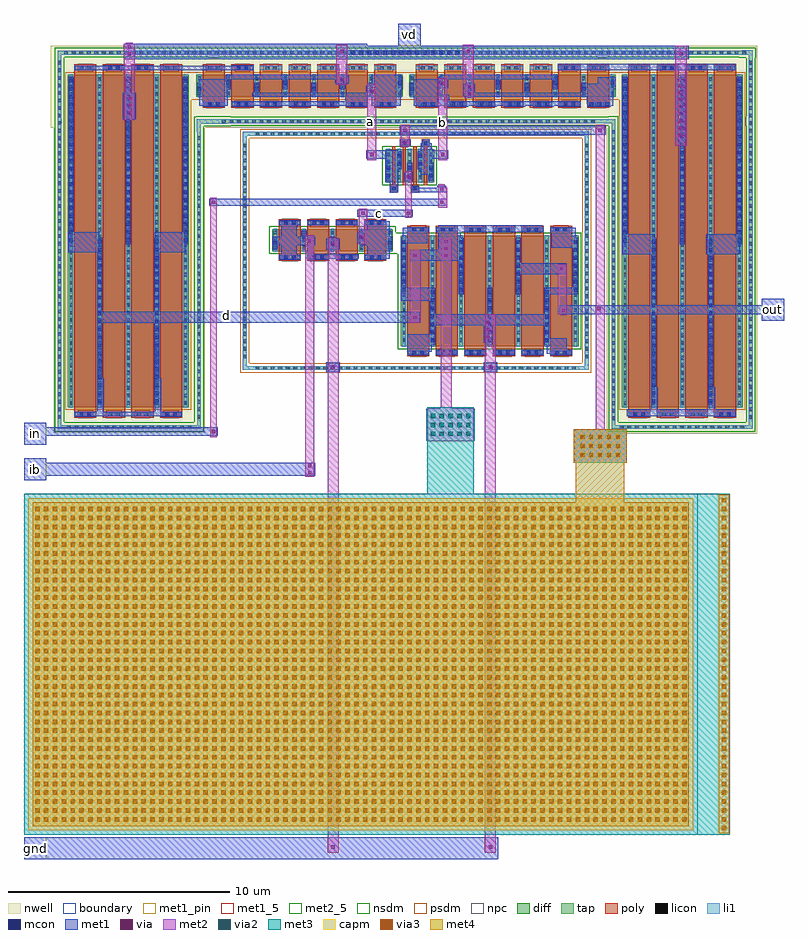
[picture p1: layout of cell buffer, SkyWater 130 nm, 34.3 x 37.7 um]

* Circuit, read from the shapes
.subckt buffer a b c d gnd ib in out vd
XM1 ib ib ib gnd sky130_fd_pr__nfet_01v8 w=1 l=1
XM2 gnd ib ib gnd sky130_fd_pr__nfet_01v8 w=1 l=1
XM3 c ib gnd gnd sky130_fd_pr__nfet_01v8 w=1 l=1
XM4 c c c gnd sky130_fd_pr__nfet_01v8 w=1 l=1
XM5 a a a gnd sky130_fd_pr__nfet_01v8 w=1.5 l=0.15
XM6 c out a gnd sky130_fd_pr__nfet_01v8 w=1.5 l=0.15
XM7 gnd gnd gnd gnd sky130_fd_pr__nfet_01v8 w=5 l=1 m=2
XM8 b in c gnd sky130_fd_pr__nfet_01v8 w=1.5 l=0.15
XM9 b b b gnd sky130_fd_pr__nfet_01v8 w=1.5 l=0.15
XM10 d d gnd gnd sky130_fd_pr__nfet_01v8 w=5 l=1 m=2
XM11 out d gnd gnd sky130_fd_pr__nfet_01v8 w=5 l=1 m=2
XM12 d d d vd sky130_fd_pr__pfet_01v8 w=15 l=1 m=2
XM13 vd a d vd sky130_fd_pr__pfet_01v8 w=15 l=1 m=2
XM14 vd vd vd vd sky130_fd_pr__pfet_01v8 w=1 l=1 m=2
XM15 a a vd vd sky130_fd_pr__pfet_01v8 w=1 l=1 m=5
XM16 a a a vd sky130_fd_pr__pfet_01v8 w=1 l=1
XM17 b b b vd sky130_fd_pr__pfet_01v8 w=1 l=1
XM18 vd b b vd sky130_fd_pr__pfet_01v8 w=1 l=1 m=5
XM19 out out out vd sky130_fd_pr__pfet_01v8 w=15 l=1 m=2
XM20 vd b out vd sky130_fd_pr__pfet_01v8 w=15 l=1 m=2
XC21 out d sky130_fd_pr__cap_mim_m3_1 w=30 l=15
.ends

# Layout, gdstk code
import gdstk
lib = gdstk.Library(unit=1e-6, precision=1e-09)
def R(c, l, rs):  # rectangles x0, y0, x1, y1
    for r in rs: c.add(gdstk.rectangle(r[:2], r[2:], *l))
def A(c, l, x, y, w, h, nx, ny, dx, dy):  # array of equal rectangles
    R(c, l, [(x+i*dx, y+j*dy, x+i*dx+w, y+j*dy+h) for i in range(nx) for j in range(ny)])
nwell = (64, 20)
diff = (65, 20)
tap = (65, 44)
poly = (66, 20)
licon = (66, 44)
li1 = (67, 20)
mcon = (67, 44)
met1_5 = (68, 5)
met1_pin = (68, 16)
met1 = (68, 20)
via = (68, 44)
met2_5 = (69, 5)
met2 = (69, 20)
via2 = (69, 44)
met3 = (70, 20)
via3 = (70, 44)
met4 = (71, 20)
capm = (89, 44)
nsdm = (93, 44)
psdm = (94, 20)
npc = (95, 20)
boundary = (235, 4)

sky130_fd_pr__nfet_01v8_ = lib.new_cell('sky130_fd_pr__nfet_01v8_MMM6UU')
R(sky130_fd_pr__nfet_01v8_, diff, [(-4.015,-2.5,4.015,2.5)])
A(sky130_fd_pr__nfet_01v8_, poly, -3.725, -2.94, 1, 5.88, 6, 1, 1.29, 0)
A(sky130_fd_pr__nfet_01v8_, licon, -3.955, -2.295, 0.17, 0.17, 7, 14, 1.29, 0.34)
R(sky130_fd_pr__nfet_01v8_, licon, [(-3.48,-2.86,-3.31,-2.69), (-3.14,-2.86,-2.97,-2.69), (-2.19,-2.86,-2.02,-2.69), (-1.85,-2.86,-1.68,-2.69), (-0.9,-2.86,-0.73,-2.69), (-0.56,-2.86,-0.39,-2.69), (0.39,-2.86,0.56,-2.69), (0.73,-2.86,0.9,-2.69), (1.68,-2.86,1.85,-2.69), (2.02,-2.86,2.19,-2.69), (2.97,-2.86,3.14,-2.69), (3.31,-2.86,3.48,-2.69), (-3.48,2.69,-3.31,2.86), (-3.14,2.69,-2.97,2.86), (-2.19,2.69,-2.02,2.86), (-1.85,2.69,-1.68,2.86), (-0.9,2.69,-0.73,2.86), (-0.56,2.69,-0.39,2.86), (0.39,2.69,0.56,2.86), (0.73,2.69,0.9,2.86), (1.68,2.69,1.85,2.86), (2.02,2.69,2.19,2.86), (2.97,2.69,3.14,2.86), (3.31,2.69,3.48,2.86)])
A(sky130_fd_pr__nfet_01v8_, li1, -3.725, -2.86, 1, 0.17, 6, 2, 1.29, 5.55)
A(sky130_fd_pr__nfet_01v8_, li1, -3.955, -2.52, 0.17, 5.04, 7, 1, 1.29, 0)
A(sky130_fd_pr__nfet_01v8_, mcon, -2.665, -2.3, 0.17, 0.17, 3, 7, 2.58, 0.36)
A(sky130_fd_pr__nfet_01v8_, mcon, -3.955, -0.03, 0.17, 0.17, 4, 7, 2.58, 0.36)
R(sky130_fd_pr__nfet_01v8_, mcon, [(-3.49,-2.86,-3.32,-2.69), (-3.13,-2.86,-2.96,-2.69), (-2.2,-2.86,-2.03,-2.69), (-1.84,-2.86,-1.67,-2.69), (-0.91,-2.86,-0.74,-2.69), (-0.55,-2.86,-0.38,-2.69), (0.38,-2.86,0.55,-2.69), (0.74,-2.86,0.91,-2.69), (1.67,-2.86,1.84,-2.69), (2.03,-2.86,2.2,-2.69), (2.96,-2.86,3.13,-2.69), (3.32,-2.86,3.49,-2.69), (-3.49,2.69,-3.32,2.86), (-3.13,2.69,-2.96,2.86), (-2.2,2.69,-2.03,2.86), (-1.84,2.69,-1.67,2.86), (-0.91,2.69,-0.74,2.86), (-0.55,2.69,-0.38,2.86), (0.38,2.69,0.55,2.86), (0.74,2.69,0.91,2.86), (1.67,2.69,1.84,2.86), (2.03,2.69,2.2,2.86), (2.96,2.69,3.13,2.86), (3.32,2.69,3.49,2.86)])
A(sky130_fd_pr__nfet_01v8_, met1, -3.705, -2.89, 0.96, 0.23, 6, 2, 1.29, 5.55)
A(sky130_fd_pr__nfet_01v8_, met1, -2.695, -2.415, 0.23, 2.56, 3, 1, 2.58, 0)
A(sky130_fd_pr__nfet_01v8_, met1, -3.985, -0.145, 0.23, 2.56, 4, 1, 2.58, 0)
R(sky130_fd_pr__nfet_01v8_, nsdm, [(-4.14,-2.625,4.14,2.625)])
A(sky130_fd_pr__nfet_01v8_, npc, -3.58, -2.96, 0.71, 0.37, 6, 2, 1.29, 5.55)

sky130_fd_pr__pfet_01v8_ = lib.new_cell('sky130_fd_pr__pfet_01v8_AXJJQ9')
R(sky130_fd_pr__pfet_01v8_, nwell, [(-4.84,-1,4.84,1)])
R(sky130_fd_pr__pfet_01v8_, diff, [(-4.66,-0.5,4.66,0.5)])
A(sky130_fd_pr__pfet_01v8_, poly, -4.37, -0.985, 1, 1.97, 7, 1, 1.29, 0)
A(sky130_fd_pr__pfet_01v8_, licon, -4.6, -0.425, 0.17, 0.17, 8, 3, 1.29, 0.34)
R(sky130_fd_pr__pfet_01v8_, licon, [(-4.125,-0.905,-3.955,-0.735), (-3.785,-0.905,-3.615,-0.735), (-2.835,-0.905,-2.665,-0.735), (-2.495,-0.905,-2.325,-0.735), (-1.545,-0.905,-1.375,-0.735), (-1.205,-0.905,-1.035,-0.735), (-0.255,-0.905,-0.085,-0.735), (0.085,-0.905,0.255,-0.735), (1.035,-0.905,1.205,-0.735), (1.375,-0.905,1.545,-0.735), (2.325,-0.905,2.495,-0.735), (2.665,-0.905,2.835,-0.735), (3.615,-0.905,3.785,-0.735), (3.955,-0.905,4.125,-0.735), (-4.125,0.735,-3.955,0.905), (-3.785,0.735,-3.615,0.905), (-2.835,0.735,-2.665,0.905), (-2.495,0.735,-2.325,0.905), (-1.545,0.735,-1.375,0.905), (-1.205,0.735,-1.035,0.905), (-0.255,0.735,-0.085,0.905), (0.085,0.735,0.255,0.905), (1.035,0.735,1.205,0.905), (1.375,0.735,1.545,0.905), (2.325,0.735,2.495,0.905), (2.665,0.735,2.835,0.905), (3.615,0.735,3.785,0.905), (3.955,0.735,4.125,0.905)])
A(sky130_fd_pr__pfet_01v8_, li1, -4.37, -0.905, 1, 0.17, 7, 2, 1.29, 1.64)
A(sky130_fd_pr__pfet_01v8_, li1, -4.6, -0.52, 0.17, 1.04, 8, 1, 1.29, 0)
A(sky130_fd_pr__pfet_01v8_, mcon, -4.6, -0.22, 0.17, 0.17, 4, 1, 2.58, 0)
A(sky130_fd_pr__pfet_01v8_, mcon, -3.31, 0.05, 0.17, 0.17, 4, 1, 2.58, 0)
A(sky130_fd_pr__pfet_01v8_, met1, -4.63, -0.415, 0.23, 0.56, 4, 1, 2.58, 0)
A(sky130_fd_pr__pfet_01v8_, met1, -3.34, -0.145, 0.23, 0.56, 4, 1, 2.58, 0)
R(sky130_fd_pr__pfet_01v8_, psdm, [(-4.785,-0.625,4.785,0.625)])
A(sky130_fd_pr__pfet_01v8_, npc, -4.225, -1.005, 0.71, 0.37, 7, 2, 1.29, 1.64)

c_sky130_fd_pr__pfet_01v8_ = lib.new_cell('sky130_fd_pr__pfet_01v8_99C25S')
R(c_sky130_fd_pr__pfet_01v8_, nwell, [(-2.905,-8,2.905,8)])
R(c_sky130_fd_pr__pfet_01v8_, diff, [(-2.725,-7.5,2.725,7.5)])
A(c_sky130_fd_pr__pfet_01v8_, poly, -2.435, -7.985, 1, 15.97, 4, 1, 1.29, 0)
A(c_sky130_fd_pr__pfet_01v8_, licon, -2.665, -7.395, 0.17, 0.17, 5, 44, 1.29, 0.34)
R(c_sky130_fd_pr__pfet_01v8_, licon, [(-2.19,-7.905,-2.02,-7.735), (-1.85,-7.905,-1.68,-7.735), (-0.9,-7.905,-0.73,-7.735), (-0.56,-7.905,-0.39,-7.735), (0.39,-7.905,0.56,-7.735), (0.73,-7.905,0.9,-7.735), (1.68,-7.905,1.85,-7.735), (2.02,-7.905,2.19,-7.735), (-2.19,7.735,-2.02,7.905), (-1.85,7.735,-1.68,7.905), (-0.9,7.735,-0.73,7.905), (-0.56,7.735,-0.39,7.905), (0.39,7.735,0.56,7.905), (0.73,7.735,0.9,7.905), (1.68,7.735,1.85,7.905), (2.02,7.735,2.19,7.905)])
A(c_sky130_fd_pr__pfet_01v8_, li1, -2.435, -7.905, 1, 0.17, 4, 2, 1.29, 15.64)
A(c_sky130_fd_pr__pfet_01v8_, li1, -2.665, -7.52, 0.17, 15.04, 5, 1, 1.29, 0)
A(c_sky130_fd_pr__pfet_01v8_, mcon, -1.375, -7.32, 0.17, 0.17, 1, 21, 0, 0.36)
A(c_sky130_fd_pr__pfet_01v8_, mcon, 1.205, -7.32, 0.17, 0.17, 1, 21, 0, 0.36)
A(c_sky130_fd_pr__pfet_01v8_, mcon, -2.665, -0.05, 0.17, 0.17, 3, 21, 2.58, 0.36)
A(c_sky130_fd_pr__pfet_01v8_, met1, -2.695, -0.145, 0.23, 7.56, 3, 1, 2.58, 0)
R(c_sky130_fd_pr__pfet_01v8_, met1, [(-1.405,-7.415,-1.175,0.145), (1.175,-7.415,1.405,0.145)])
R(c_sky130_fd_pr__pfet_01v8_, psdm, [(-2.85,-7.625,2.85,7.625)])
A(c_sky130_fd_pr__pfet_01v8_, npc, -2.29, -8.005, 0.71, 0.37, 4, 2, 1.29, 15.64)

c_sky130_fd_pr__nfet_01v8_ = lib.new_cell('sky130_fd_pr__nfet_01v8_HD5U9F')
R(c_sky130_fd_pr__nfet_01v8_, diff, [(-1.105,-0.75,1.105,0.75)])
R(c_sky130_fd_pr__nfet_01v8_, poly, [(-0.885,-1.19,-0.555,-0.86), (0.075,-1.19,0.405,-0.86), (-0.315,-0.88,-0.165,0.86), (0.645,-0.88,0.795,0.86), (-0.795,-0.86,-0.645,0.88), (0.165,-0.86,0.315,0.88), (-0.405,0.86,-0.075,1.19), (0.555,0.86,0.885,1.19)])
A(c_sky130_fd_pr__nfet_01v8_, licon, -1.045, -0.595, 0.17, 0.17, 5, 4, 0.48, 0.34)
R(c_sky130_fd_pr__nfet_01v8_, licon, [(-0.805,-1.11,-0.635,-0.94), (0.155,-1.11,0.325,-0.94), (-0.325,0.94,-0.155,1.11), (0.635,0.94,0.805,1.11)])
A(c_sky130_fd_pr__nfet_01v8_, li1, -1.045, -0.77, 0.17, 1.54, 5, 1, 0.48, 0)
R(c_sky130_fd_pr__nfet_01v8_, li1, [(-0.885,-1.11,-0.555,-0.94), (0.075,-1.11,0.405,-0.94), (-0.405,0.94,-0.075,1.11), (0.555,0.94,0.885,1.11)])
A(c_sky130_fd_pr__nfet_01v8_, mcon, -1.045, -0.525, 0.17, 0.17, 3, 2, 0.96, 0.36)
R(c_sky130_fd_pr__nfet_01v8_, mcon, [(-0.805,-1.11,-0.635,-0.94), (0.155,-1.11,0.325,-0.94), (-0.565,-0.005,-0.395,0.165), (0.395,-0.005,0.565,0.165), (-0.565,0.355,-0.395,0.525), (0.395,0.355,0.565,0.525), (-0.325,0.94,-0.155,1.11), (0.635,0.94,0.805,1.11)])
A(c_sky130_fd_pr__nfet_01v8_, met1, -1.075, -0.665, 0.23, 0.81, 3, 1, 0.96, 0)
R(c_sky130_fd_pr__nfet_01v8_, met1, [(-0.865,-1.14,-0.575,-0.91), (0.095,-1.14,0.385,-0.91), (-0.595,-0.145,-0.365,0.665), (0.365,-0.145,0.595,0.665), (-0.385,0.91,-0.095,1.14), (0.575,0.91,0.865,1.14)])
R(c_sky130_fd_pr__nfet_01v8_, nsdm, [(-1.23,-0.875,1.23,0.875)])
R(c_sky130_fd_pr__nfet_01v8_, npc, [(-0.905,-1.21,-0.535,-0.84), (0.055,-1.21,0.425,-0.84), (-0.425,0.84,-0.055,1.21), (0.535,0.84,0.905,1.21)])

c_sky130_fd_pr__nfet_01v8__ = lib.new_cell('sky130_fd_pr__nfet_01v8_5VPKLS')
R(c_sky130_fd_pr__nfet_01v8__, diff, [(-2.725,-0.5,2.725,0.5)])
A(c_sky130_fd_pr__nfet_01v8__, poly, -2.435, -0.94, 1, 1.88, 4, 1, 1.29, 0)
A(c_sky130_fd_pr__nfet_01v8__, licon, -2.665, -0.425, 0.17, 0.17, 5, 3, 1.29, 0.34)
R(c_sky130_fd_pr__nfet_01v8__, licon, [(-2.19,-0.86,-2.02,-0.69), (-1.85,-0.86,-1.68,-0.69), (-0.9,-0.86,-0.73,-0.69), (-0.56,-0.86,-0.39,-0.69), (0.39,-0.86,0.56,-0.69), (0.73,-0.86,0.9,-0.69), (1.68,-0.86,1.85,-0.69), (2.02,-0.86,2.19,-0.69), (-2.19,0.69,-2.02,0.86), (-1.85,0.69,-1.68,0.86), (-0.9,0.69,-0.73,0.86), (-0.56,0.69,-0.39,0.86), (0.39,0.69,0.56,0.86), (0.73,0.69,0.9,0.86), (1.68,0.69,1.85,0.86), (2.02,0.69,2.19,0.86)])
A(c_sky130_fd_pr__nfet_01v8__, li1, -2.435, -0.86, 1, 0.17, 4, 2, 1.29, 1.55)
A(c_sky130_fd_pr__nfet_01v8__, li1, -2.665, -0.52, 0.17, 1.04, 5, 1, 1.29, 0)
A(c_sky130_fd_pr__nfet_01v8__, mcon, -2.665, -0.22, 0.17, 0.17, 3, 1, 2.58, 0)
R(c_sky130_fd_pr__nfet_01v8__, mcon, [(-2.2,-0.86,-2.03,-0.69), (-1.84,-0.86,-1.67,-0.69), (-0.91,-0.86,-0.74,-0.69), (-0.55,-0.86,-0.38,-0.69), (0.38,-0.86,0.55,-0.69), (0.74,-0.86,0.91,-0.69), (1.67,-0.86,1.84,-0.69), (2.03,-0.86,2.2,-0.69), (-1.375,0.05,-1.205,0.22), (1.205,0.05,1.375,0.22), (-2.2,0.69,-2.03,0.86), (-1.84,0.69,-1.67,0.86), (-0.91,0.69,-0.74,0.86), (-0.55,0.69,-0.38,0.86), (0.38,0.69,0.55,0.86), (0.74,0.69,0.91,0.86), (1.67,0.69,1.84,0.86), (2.03,0.69,2.2,0.86)])
A(c_sky130_fd_pr__nfet_01v8__, met1, -2.415, -0.89, 0.96, 0.23, 4, 2, 1.29, 1.55)
A(c_sky130_fd_pr__nfet_01v8__, met1, -2.695, -0.415, 0.23, 0.56, 3, 1, 2.58, 0)
R(c_sky130_fd_pr__nfet_01v8__, met1, [(-1.405,-0.145,-1.175,0.415), (1.175,-0.145,1.405,0.415)])
R(c_sky130_fd_pr__nfet_01v8__, nsdm, [(-2.85,-0.625,2.85,0.625)])
A(c_sky130_fd_pr__nfet_01v8__, npc, -2.29, -0.96, 0.71, 0.37, 4, 2, 1.29, 1.55)

sky130_fd_pr__cap_mim_m3 = lib.new_cell('sky130_fd_pr__cap_mim_m3_1_26U9NK')
R(sky130_fd_pr__cap_mim_m3, met3, [(-15.93,-7.7,15.93,7.7)])
A(sky130_fd_pr__cap_mim_m3, via3, 15.57, -7.5, 0.2, 0.2, 1, 38, 0, 0.4)
A(sky130_fd_pr__cap_mim_m3, via3, -15.43, -7.1, 0.2, 0.2, 74, 36, 0.4, 0.4)
R(sky130_fd_pr__cap_mim_m3, met4, [(15.43,-7.64,15.91,7.64), (-15.535,-7.305,14.075,7.305)])
R(sky130_fd_pr__cap_mim_m3, capm, [(-15.73,-7.5,14.27,7.5)])
R(sky130_fd_pr__cap_mim_m3, boundary, [(-15.93,-7.7,14.47,7.7)])

buffer = lib.new_cell('buffer')
R(buffer, nwell, [(30.8,10.6,37.6,24.4), (5.835,10.635,12.665,24.4), (5.7,24.4,37.6,28.1)])
R(buffer, tap, [(6.015,10.815,12.485,10.985), (31.015,10.815,37.385,10.985), (6.015,10.985,6.185,24.615), (12.315,10.985,12.485,24.215), (31.015,10.985,31.185,24.615), (37.215,10.985,37.385,24.615), (14.38,13.48,29.98,13.65), (14.38,13.65,14.55,24.05), (29.81,13.65,29.98,24.05), (14.38,24.05,29.98,24.22), (12.3,24.215,12.485,24.6), (12.3,24.6,13.7,24.615), (6.015,24.615,6.2,24.785), (12.3,24.615,31.185,24.785), (37.2,24.615,37.385,24.785), (6.015,24.785,6.185,27.715), (12.4,24.785,13.7,24.8), (31.015,24.785,31.185,24.8), (37.215,24.785,37.385,27.7), (13.015,27.7,13.185,27.715), (30.515,27.7,30.685,27.715), (36.9,27.7,37.4,27.715), (6.015,27.715,37.4,27.885), (36.9,27.885,37.4,27.9)])
A(buffer, licon, 6.445, 10.815, 0.17, 0.17, 17, 1, 0.34, 0)
A(buffer, licon, 31.395, 10.815, 0.17, 0.17, 17, 1, 0.34, 0)
A(buffer, licon, 31.015, 11.21, 0.17, 0.17, 1, 39, 0, 0.34)
A(buffer, licon, 6.015, 11.275, 0.17, 0.17, 1, 48, 0, 0.34)
A(buffer, licon, 37.215, 11.275, 0.17, 0.17, 1, 48, 0, 0.34)
A(buffer, licon, 12.315, 11.28, 0.17, 0.17, 1, 38, 0, 0.34)
A(buffer, licon, 14.955, 13.48, 0.17, 0.17, 43, 2, 0.34, 10.57)
A(buffer, licon, 14.38, 14.005, 0.17, 0.17, 1, 29, 0, 0.34)
A(buffer, licon, 29.81, 14.005, 0.17, 0.17, 1, 29, 0, 0.34)
A(buffer, licon, 13.435, 24.615, 0.17, 0.17, 50, 1, 0.34, 0)
A(buffer, licon, 6.315, 27.715, 0.17, 0.17, 91, 1, 0.34, 0)
A(buffer, li1, 12.65, 25.395, 0.84, 0.17, 7, 1, 1.29, 0)
A(buffer, li1, 22.35, 25.395, 0.84, 0.17, 5, 1, 1.29, 0)
R(buffer, li1, [(6.015,10.815,12.485,10.985), (31.015,10.815,37.385,10.985), (6.015,10.985,6.185,24.615), (12.315,10.985,12.485,24.215), (31.015,10.985,31.185,24.615), (37.215,10.985,37.385,24.615), (6.85,11.395,7.69,11.565), (10.72,11.395,11.56,11.565), (31.85,11.395,32.69,11.565), (35.72,11.395,36.56,11.565), (18.2,13.4,18.7,13.48), (25.3,13.4,25.8,13.48), (14.38,13.48,29.98,13.65), (14.38,13.65,14.55,24.05), (18.2,13.65,18.7,13.8), (25.3,13.65,25.8,13.8), (29.81,13.65,29.98,24.05), (14.38,24.05,29.98,24.22), (12.3,24.215,12.485,24.6), (12.3,24.6,13.7,24.615), (6.015,24.615,6.2,24.785), (12.3,24.615,31.185,24.785), (37.2,24.615,37.385,24.785), (6.015,24.785,6.185,27.715), (12.4,24.785,13.7,24.8), (31.015,24.785,31.185,24.8), (37.215,24.785,37.385,27.7), (28.7,25.395,29.54,25.565), (29.99,25.395,30.93,25.565), (8.14,27.035,8.98,27.205), (9.43,27.035,10.27,27.205), (13.94,27.035,14.78,27.205), (28.7,27.035,29.54,27.205), (33.14,27.035,33.98,27.205), (34.43,27.035,35.27,27.205), (13.015,27.7,13.185,27.715), (19.1,27.7,24.3,27.715), (30.515,27.7,30.685,27.715), (36.9,27.7,37.4,27.715), (6.015,27.715,37.4,27.885), (19.1,27.885,24.3,27.9), (36.9,27.885,37.4,27.9)])
A(buffer, mcon, 30.015, 25.395, 0.17, 0.17, 3, 1, 0.36, 0)
A(buffer, mcon, 19.275, 27.715, 0.17, 0.17, 14, 1, 0.36, 0)
R(buffer, mcon, [(7.005,11.395,7.175,11.565), (7.365,11.395,7.535,11.565), (10.875,11.395,11.045,11.565), (11.235,11.395,11.405,11.565), (32.005,11.395,32.175,11.565), (32.365,11.395,32.535,11.565), (35.875,11.395,36.045,11.565), (36.235,11.395,36.405,11.565), (18.365,13.515,18.535,13.685), (25.465,13.515,25.635,13.685), (12.805,25.395,12.975,25.565), (13.165,25.395,13.335,25.565), (14.095,25.395,14.265,25.565), (14.455,25.395,14.625,25.565), (15.385,25.395,15.555,25.565), (15.745,25.395,15.915,25.565), (16.675,25.395,16.845,25.565), (17.035,25.395,17.205,25.565), (17.965,25.395,18.135,25.565), (18.325,25.395,18.495,25.565), (19.255,25.395,19.425,25.565), (19.615,25.395,19.785,25.565), (20.545,25.395,20.715,25.565), (20.905,25.395,21.075,25.565), (22.505,25.395,22.675,25.565), (22.865,25.395,23.035,25.565), (23.795,25.395,23.965,25.565), (24.155,25.395,24.325,25.565), (25.085,25.395,25.255,25.565), (25.445,25.395,25.615,25.565), (26.375,25.395,26.545,25.565), (26.735,25.395,26.905,25.565), (27.665,25.395,27.835,25.565), (28.025,25.395,28.195,25.565), (28.855,25.395,29.025,25.565), (29.215,25.395,29.385,25.565), (8.295,27.035,8.465,27.205), (8.655,27.035,8.825,27.205), (9.585,27.035,9.755,27.205), (9.945,27.035,10.115,27.205), (14.095,27.035,14.265,27.205), (14.455,27.035,14.625,27.205), (28.855,27.035,29.025,27.205), (29.215,27.035,29.385,27.205), (33.295,27.035,33.465,27.205), (33.655,27.035,33.825,27.205), (34.585,27.035,34.755,27.205), (34.945,27.035,35.115,27.205)])
R(buffer, met1_5, [(13.6,15.9,13.7,16), (20.5,20.5,20.6,20.6)])
R(buffer, met1_pin, [(4.5,-8.6,5.5,-7.6), (4.5,8.5,5.5,9.5), (4.5,10.1,5.5,11.1), (37.8,15.7,38.8,16.7), (21.4,28.1,22.4,29.1)])
A(buffer, met1, 12.59, 25.365, 0.96, 0.035, 7, 1, 1.29, 0)
A(buffer, met1, 22.29, 25.365, 0.96, 0.035, 5, 1, 1.29, 0)
R(buffer, met1, [(4.5,-8.6,25.9,-7.6), (4.5,8.5,5.5,8.7), (4.5,8.7,17.65,9.3), (4.5,9.3,5.5,9.5), (4.5,10.1,5.5,10.5), (4.5,10.5,13.25,10.9), (4.5,10.9,5.5,11.1), (6.79,11.365,7.75,11.4), (10.66,11.365,11.62,11.4), (31.79,11.365,32.75,11.4), (35.66,11.365,36.62,11.4), (6.79,11.4,11.62,11.595), (31.7,11.4,36.62,11.595), (6.8,11.595,11.6,11.6), (31.7,11.595,36.6,11.7), (7.8,11.6,8.1,13.1), (10.4,11.6,10.7,13.1), (32.8,11.7,33.1,12.7), (35.4,11.7,35.7,12.7), (18.14,13.37,18.76,13.83), (25.24,13.37,25.86,13.83), (28.1,14.2,29,14.9), (21.8,14.3,22.9,15.1), (25.25,14.7,25.65,15.5), (22.9,15.5,28.1,16), (7.9,15.6,22.35,16.1), (37.8,15.7,38.8,16), (28.65,16,38.8,16.3), (28.7,16.3,38.8,16.4), (37.8,16.4,38.8,16.7), (21.5,16.6,23,17.2), (28,16.9,29.4,17.2), (26.7,17.8,29,18.3), (21.9,18.4,24.3,18.9), (16.1,18.5,16.8,19.1), (17.2,18.5,19.6,18.7), (20,18.5,21,19.1), (17.2,18.7,17.6,19.1), (31.5,18.7,33,19.6), (35.3,18.7,36.8,19.6), (6.5,18.8,7.9,19.7), (10.4,18.8,11.8,19.7), (18.15,18.9,18.75,19.4), (23.2,18.9,24.2,19.7), (28.3,19,29.4,19.9), (15.7,19.1,17.65,19.5), (19.7,19.1,21,19.2), (19.55,19.2,21,19.7), (21.6,19.2,22.7,19.9), (16.1,19.5,16.8,20.2), (19.7,19.7,21,19.8), (23.2,19.7,27.9,20), (20,19.8,21,20.2), (19.55,20.4,22.05,20.7), (12.85,20.9,23.6,21.2), (21,21.5,21.4,22), (22,21.5,23.6,21.7), (22,21.7,22.3,21.8), (23.15,21.7,23.55,21.8), (20.8,22,21.4,23), (21.65,22,22.05,22.4), (22.4,22.3,22.9,23), (19.95,23,21.4,23.4), (22.4,23,23.65,23.4), (22.4,23.4,22.9,23.7), (21.45,23.6,21.95,23.9), (22.5,23.7,22.8,23.9), (33.95,23.8,34.35,26.6), (21.45,24.1,30.75,24.5), (8.95,24.8,9.55,26), (28.64,25.365,29.6,25.4), (29.93,25.365,30.99,25.4), (12.4,25.4,13.7,26.6), (13.88,25.4,20,25.595), (20.2,25.4,21.5,25.8), (22.1,25.4,29.6,25.595), (29.93,25.4,31.1,25.5), (29.9,25.5,31.1,25.8), (13.9,25.595,20,25.6), (22.1,25.595,29.5,25.6), (19,25.6,20,25.8), (22.1,25.6,23.7,25.9), (14.8,25.8,21.5,26), (24.35,25.8,31.1,26), (22.1,25.9,23.4,26.2), (19.95,26,21.5,26.3), (24.35,26,24.85,26.4), (29.7,26,31.1,26.2), (22.1,26.2,23.65,26.6), (29.7,26.2,31.2,26.4), (20.2,26.3,21.5,26.8), (18.55,26.4,19.15,26.6), (30.4,26.4,31.2,26.7), (13.6,26.6,19.15,26.8), (23.3,26.6,28.6,26.8), (6.8,27,14.8,27.005), (28.6,27,36.6,27.3), (6.8,27.005,14.84,27.2), (8.08,27.2,9.04,27.235), (9.37,27.2,10.33,27.235), (13.88,27.2,14.84,27.235), (9,27.5,34.5,28.1), (9,28.1,20,28.2), (21.4,28.1,22.4,29.1)])
A(buffer, via, 25.375, 14.905, 0.15, 0.15, 1, 3, 0, 0.32)
A(buffer, via, 23.475, 18.555, 0.15, 0.15, 1, 3, 0, 0.32)
A(buffer, via, 34.075, 24.005, 0.15, 0.15, 1, 8, 0, 0.32)
A(buffer, via, 9.175, 25.005, 0.15, 0.15, 1, 3, 0, 0.32)
R(buffer, via, [(18.375,-8.125,18.525,-7.975), (25.475,-8.125,25.625,-7.975), (17.325,8.765,17.475,8.915), (17.325,9.085,17.475,9.235), (12.975,10.625,13.125,10.775), (18.375,13.525,18.525,13.675), (25.475,13.525,25.625,13.675), (22.075,15.775,22.225,15.925), (28.775,16.075,28.925,16.225), (30.375,16.175,30.525,16.325), (28.675,17.975,28.825,18.125), (22.075,18.575,22.225,18.725), (18.375,19.075,18.525,19.225), (17.325,19.225,17.475,19.375), (19.675,19.375,19.825,19.525), (19.725,20.475,19.875,20.625), (21.775,20.475,21.925,20.625), (12.975,20.975,13.125,21.125), (23.275,20.975,23.425,21.125), (23.275,21.575,23.425,21.725), (21.775,22.125,21.925,22.275), (20.125,23.125,20.275,23.275), (23.325,23.125,23.475,23.275), (21.625,23.675,21.775,23.825), (21.625,24.225,21.775,24.375), (30.425,24.225,30.575,24.375), (24.525,25.865,24.675,26.015), (20.125,25.975,20.275,26.125), (24.525,26.185,24.675,26.335), (23.325,26.325,23.475,26.475), (18.775,26.525,18.925,26.675), (9.175,27.665,9.325,27.815), (34.075,27.675,34.225,27.825), (18.775,27.775,18.925,27.925), (24.475,27.775,24.625,27.925), (9.175,27.985,9.325,28.135)])
R(buffer, met2_5, [(20.1,24.6,20.2,24.8), (23.3,24.6,23.5,24.7)])
R(buffer, met2, [(18.2,-8.3,18.7,19.45), (25.3,-8.3,25.8,16), (17.2,8.65,17.6,19.55), (29.3,9.3,31.7,10.8), (22.7,10.25,24.8,11.75), (12.9,10.45,13.2,21.25), (30.3,10.8,30.7,24.55), (23.3,11.75,23.8,19.4), (21.9,15.6,22.4,18.9), (28.7,15.95,29,16), (28.6,16,29,18.2), (28.6,18.2,28.9,18.25), (19.6,19.15,19.9,19.2), (19.6,19.2,20,20.75), (23.4,19.4,23.7,19.45), (21.7,20.35,22,22.45), (23.2,20.8,23.6,21.7), (23.2,21.7,23.5,21.85), (20,22.95,20.4,26.4), (23.2,22.95,23.6,26.65), (21.5,23.55,21.9,24.55), (33.9,23.6,34.4,28.1), (9,24.75,9.5,28.2), (24.4,25.75,24.8,25.8), (24.3,25.8,24.8,28.15), (18.6,26.35,19.1,28.15), (9.1,28.2,9.4,28.25)])
A(buffer, via2, 29.6, 9.55, 0.2, 0.2, 5, 3, 0.4, 0.4)
A(buffer, via2, 22.85, 10.5, 0.2, 0.2, 5, 3, 0.4, 0.4)
R(buffer, met3, [(22.7,6.6,24.8,10.275), (29.3,9.3,31.7,10.8), (22.65,10.275,24.85,11.725), (22.7,11.725,24.8,11.8)])
A(buffer, via3, 29.6, 9.55, 0.2, 0.2, 5, 3, 0.4, 0.4)
R(buffer, met4, [(29.4,6.5,31.6,9.3), (29.3,9.3,31.7,10.8)])
R(buffer, nsdm, [(5.89,10.69,12.61,11.11), (30.89,10.69,37.51,11.11), (5.89,11.11,6.31,24.49), (12.19,11.11,12.61,24.09), (30.89,11.11,31.31,24.49), (37.09,11.11,37.51,24.49), (21.275,18.715,21.375,19.665), (12.175,24.09,12.61,24.475), (12.175,24.475,13.825,24.49), (5.89,24.49,6.325,24.91), (12.175,24.49,31.31,24.91), (37.075,24.49,37.51,24.91), (5.89,24.91,6.31,27.59), (12.275,24.91,13.825,24.925), (30.89,24.91,31.31,24.925), (37.09,24.91,37.51,27.575), (12.89,27.575,13.31,27.59), (30.39,27.575,30.81,27.59), (36.775,27.575,37.525,27.59), (5.89,27.59,37.525,28.01), (36.775,28.01,37.525,28.025)])
R(buffer, psdm, [(14.255,13.355,30.105,13.775), (14.255,13.775,14.675,23.925), (29.685,13.775,30.105,23.925), (14.255,23.925,30.105,24.345), (12.055,25.675,12.155,26.925), (21.725,25.675,21.755,26.925), (31.325,25.675,31.355,26.925)])
buffer.add(gdstk.Reference(sky130_fd_pr__nfet_01v8_, (25.515,17.04)))
buffer.add(gdstk.Reference(sky130_fd_pr__pfet_01v8_, (26.54,26.3)))
buffer.add(gdstk.Reference(sky130_fd_pr__pfet_01v8_, (16.94,26.3)))
buffer.add(gdstk.Reference(c_sky130_fd_pr__pfet_01v8_, (34.205,19.3)))
buffer.add(gdstk.Reference(c_sky130_fd_pr__pfet_01v8_, (9.205,19.3)))
buffer.add(gdstk.Reference(c_sky130_fd_pr__nfet_01v8_, (21.905,22.69)))
buffer.add(gdstk.Reference(c_sky130_fd_pr__nfet_01v8__, (18.425,19.34)))
buffer.add(gdstk.Reference(sky130_fd_pr__cap_mim_m3, (20.43,0.2)))
buffer.add(gdstk.Label('a', (20.15,24.7), layer=69, texttype=5))
buffer.add(gdstk.Label('b', (23.4,24.65), layer=69, texttype=5))
buffer.add(gdstk.Label('c', (20.55,20.55), layer=68, texttype=5))
buffer.add(gdstk.Label('d', (13.65,15.95), layer=68, texttype=5))
buffer.add(gdstk.Label('vd', (21.9,28.6), layer=68, texttype=5))
buffer.add(gdstk.Label('ib', (5,9), layer=68, texttype=5))
buffer.add(gdstk.Label('out', (38.3,16.2), layer=68, texttype=5))
buffer.add(gdstk.Label('in', (5,10.6), layer=68, texttype=5))
buffer.add(gdstk.Label('gnd', (5,-8.1), layer=68, texttype=5))

lib.write_gds('buffer.gds')
